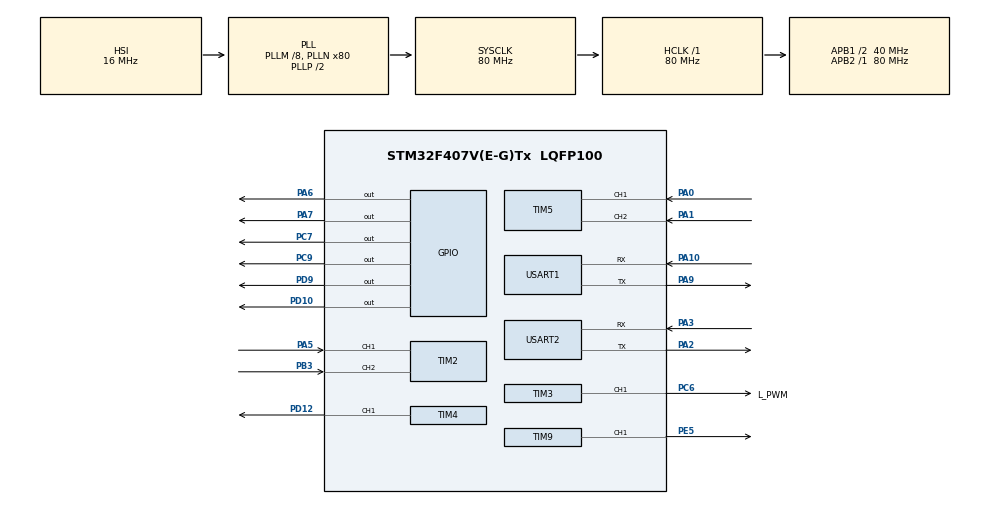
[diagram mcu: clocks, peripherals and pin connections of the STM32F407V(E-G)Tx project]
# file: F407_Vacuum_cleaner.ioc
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Mcu.Family=STM32F4
Mcu.Name=STM32F407V(E-G)Tx
Mcu.Package=LQFP100
NVIC.PriorityGroup=NVIC_PRIORITYGROUP_4
NVIC.TIM6_DAC_IRQn=true\:0\:0\:false\:false\:true\:true\:true\:true
NVIC.USART1_IRQn=true\:0\:0\:false\:false\:true\:true\:true\:true
NVIC.USART2_IRQn=true\:0\:0\:false\:false\:true\:true\:true\:true
PA0-WKUP.Signal=S_TIM5_CH1
PA1.Signal=S_TIM5_CH2
PA10.Mode=Asynchronous
PA10.Signal=USART1_RX
PA13.Mode=Serial_Wire
PA13.Signal=SYS_JTMS-SWDIO
PA14.Mode=Serial_Wire
PA14.Signal=SYS_JTCK-SWCLK
PA2.Mode=Asynchronous
PA2.Signal=USART2_TX
PA3.Mode=Asynchronous
PA3.Signal=USART2_RX
PA5.Signal=S_TIM2_CH1_ETR
PA6.PinState=GPIO_PIN_SET
PA6.Signal=GPIO_Output
PA7.PinState=GPIO_PIN_SET
PA7.Signal=GPIO_Output
PA9.Mode=Asynchronous
PA9.Signal=USART1_TX
PB3.Signal=S_TIM2_CH2
PC6.GPIO_Label=L_PWM
PC6.Signal=S_TIM3_CH1
PC7.Signal=GPIO_Output
PC9.Signal=GPIO_Output
PD10.Signal=GPIO_Output
PD12.Signal=S_TIM4_CH1
PD9.Signal=GPIO_Output
PE5.Signal=S_TIM9_CH1
PH0-OSC_IN.Mode=HSE-External-Oscillator
PH0-OSC_IN.Signal=RCC_OSC_IN
PH1-OSC_OUT.Mode=HSE-External-Oscillator
PH1-OSC_OUT.Signal=RCC_OSC_OUT
ProjectManager.HeapSize=0x200
ProjectManager.StackSize=0x400
ProjectManager.TargetToolchain=CMake
RCC.48MHZClocksFreq_Value=40000000
RCC.AHBFreq_Value=80000000
RCC.APB1CLKDivider=RCC_HCLK_DIV2
RCC.APB1Freq_Value=40000000
RCC.APB1TimFreq_Value=80000000
RCC.APB2Freq_Value=80000000
RCC.APB2TimFreq_Value=80000000
RCC.CortexFreq_Value=80000000
RCC.HCLKFreq_Value=80000000
RCC.HSE_VALUE=25000000
RCC.HSI_VALUE=16000000
RCC.LSE_VALUE=32768
RCC.PLLM=8
RCC.PLLN=80
RCC.SYSCLKFreq_VALUE=80000000
RCC.SYSCLKSource=RCC_SYSCLKSOURCE_PLLCLK
RCC.VCOOutputFreq_Value=160000000
SH.S_TIM2_CH1_ETR.0=TIM2_CH1,Encoder_Interface
SH.S_TIM2_CH2.0=TIM2_CH2,Encoder_Interface
SH.S_TIM3_CH1.0=TIM3_CH1,PWM Generation1 CH1
SH.S_TIM4_CH1.0=TIM4_CH1,PWM Generation1 CH1
SH.S_TIM5_CH1.0=TIM5_CH1,Encoder_Interface
SH.S_TIM5_CH2.0=TIM5_CH2,Encoder_Interface
SH.S_TIM9_CH1.0=TIM9_CH1,PWM Generation1 CH1
TIM2.EncoderMode=TIM_ENCODERMODE_TI12
TIM3.Channel-PWM\ Generation1\ CH1=TIM_CHANNEL_1
TIM3.Period=100-1
TIM3.Prescaler=800-1
TIM4.Channel-PWM\ Generation1\ CH1=TIM_CHANNEL_1
TIM4.Period=100-1
TIM4.Prescaler=800-1
TIM5.EncoderMode=TIM_ENCODERMODE_TI12
TIM6.Period=100-1
TIM6.Prescaler=800-1
TIM9.Channel-PWM\ Generation1\ CH1=TIM_CHANNEL_1
TIM9.Prescaler=800-1
USART1.VirtualMode=VM_ASYNC
USART2.VirtualMode=VM_ASYNC
VP_TIM6_VS_ClockSourceINT.Mode=Enable_Timer
board=custom

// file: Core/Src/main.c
/* USER CODE BEGIN Header */
/**
  ******************************************************************************
  * @file           : main.c
  * @brief          : Main program body
  ******************************************************************************
  * @attention
  *
  * Copyright (c) 2026 STMicroelectronics.
  * All rights reserved.
  *
  * This software is licensed under terms that can be found in the LICENSE file
  * in the root directory of this software component.
  * If no LICENSE file comes with this software, it is provided AS-IS.
  *
  ******************************************************************************
  */
/* USER CODE END Header */
#include "main.h"
#include "tim.h"
#include "usart.h"
#include "gpio.h"

/* USER CODE BEGIN Includes */
#include "moto.h"
#include "ESP8266.h"
#include "PID.h"
#include "headfile.h"
/* USER CODE END Includes */

/* USER CODE BEGIN PTD */
int _write(int file, char *ptr, int len)
{
  HAL_UART_Transmit(&huart2, (uint8_t*)ptr, len, HAL_MAX_DELAY);
  return len;
}
/* USER CODE END PTD */

void SystemClock_Config(void);

int main(void)
{

  /* MCU Configuration--------------------------------------------------------*/

  /* Reset of all peripherals, Initializes the Flash interface and the Systick. */
  HAL_Init();

  /* Configure the system clock */
  SystemClock_Config();

  /* Initialize all configured peripherals */
  MX_GPIO_Init();
  MX_TIM3_Init();
  MX_TIM4_Init();
  MX_USART1_UART_Init();
  MX_USART2_UART_Init();
  MX_TIM5_Init();
  MX_TIM2_Init();
  MX_TIM6_Init();
  MX_TIM9_Init();
  /* USER CODE BEGIN 2 */

  HAL_TIM_Encoder_Start(&htim2, TIM_CHANNEL_ALL);
  HAL_TIM_Encoder_Start(&htim5, TIM_CHANNEL_ALL);
  HAL_TIM_PWM_Start(&htim3, TIM_CHANNEL_1);
  HAL_TIM_PWM_Start(&htim4, TIM_CHANNEL_1);
  HAL_TIM_PWM_Start(&htim9, TIM_CHANNEL_1);
  #define RX_BUF_SIZE 256
  TIM3->CCR1 = 20;
  TIM4->CCR1 = 20;
  TIM9->CCR1 = 10;
  //HAL_GPIO_WritePin(GPIOC, GPIO_PIN_9, GPIO_PIN_SET);
  //HAL_GPIO_WritePin(GPIOC, GPIO_PIN_7, GPIO_PIN_RESET);
  ESP_8266_Init();
  //不要忘记开启UART中断
  //使用空闲中断接收不定长数据（一帧数据完整到达后自动触发回调）普通的接收中断在接收到一字节数据后会立刻触发中断。
  HAL_UARTEx_ReceiveToIdle_IT(&huart1, rx_buf, RX_BUF_SIZE);
  printf("System Ready. Waiting for commands...\r\n");
  HAL_GPIO_WritePin(GPIOA, GPIO_PIN_7, GPIO_PIN_RESET);
  pos_pid_left.target_distance = 1000;
  pos_pid_right.target_distance = 1000;

  PosPID_Init(&pos_pid_left,PKP,PKI,PKD);
  PosPID_Init(&pos_pid_right,PKP,PKI,PKD);

  PID_Init(&speed_pid_left,SKP, SKI, SKD, TARGET);
  PID_Init(&speed_pid_right,SKP, SKI, SKD, TARGET);
  // printf("target:%d\r\n",(int)speed_pid_left.target);
  // printf("target:%d\r\n",(int)speed_pid_right.target);
  // printf("target_pluse:%d\r\n",(int)pos_pid_left.target_pulse);
  // printf("target_pluse:%d\r\n",(int)pos_pid_right.target_pulse);

  /* USER CODE END 2 */

  /* Infinite loop */
  /* USER CODE BEGIN WHILE */
  while (1)
  {

    Signal_decoding();
    // int32_t counter = __HAL_TIM_GET_COUNTER(&htim5);
    // int32_t counter1 = __HAL_TIM_GET_COUNTER(&htim2);
    // printf("counter:%ld\r\n",counter);
    // printf("counter1:%d\r\n",counter1);
    // HAL_Delay(100);

    /* USER CODE END WHILE */

  }
}

void SystemClock_Config(void)
{
  RCC_OscInitTypeDef RCC_OscInitStruct = {0};
  RCC_ClkInitTypeDef RCC_ClkInitStruct = {0};

  /** Configure the main internal regulator output voltage
  */
  __HAL_RCC_PWR_CLK_ENABLE();
  __HAL_PWR_VOLTAGESCALING_CONFIG(PWR_REGULATOR_VOLTAGE_SCALE1);

  /** Initializes the RCC Oscillators according to the specified parameters
  * in the RCC_OscInitTypeDef structure.
  */
  RCC_OscInitStruct.OscillatorType = RCC_OSCILLATORTYPE_HSI;
  RCC_OscInitStruct.HSIState = RCC_HSI_ON;
  RCC_OscInitStruct.HSICalibrationValue = RCC_HSICALIBRATION_DEFAULT;
  RCC_OscInitStruct.PLL.PLLState = RCC_PLL_ON;
  RCC_OscInitStruct.PLL.PLLSource = RCC_PLLSOURCE_HSI;
  RCC_OscInitStruct.PLL.PLLM = 8;
  RCC_OscInitStruct.PLL.PLLN = 80;
  RCC_OscInitStruct.PLL.PLLP = RCC_PLLP_DIV2;
  RCC_OscInitStruct.PLL.PLLQ = 4;
  if (HAL_RCC_OscConfig(&RCC_OscInitStruct) != HAL_OK)
  {
    Error_Handler();
  }

  /** Initializes the CPU, AHB and APB buses clocks
  */
  RCC_ClkInitStruct.ClockType = RCC_CLOCKTYPE_HCLK|RCC_CLOCKTYPE_SYSCLK
                              |RCC_CLOCKTYPE_PCLK1|RCC_CLOCKTYPE_PCLK2;
  RCC_ClkInitStruct.SYSCLKSource = RCC_SYSCLKSOURCE_PLLCLK;
  RCC_ClkInitStruct.AHBCLKDivider = RCC_SYSCLK_DIV1;
  RCC_ClkInitStruct.APB1CLKDivider = RCC_HCLK_DIV2;
  RCC_ClkInitStruct.APB2CLKDivider = RCC_HCLK_DIV1;

  if (HAL_RCC_ClockConfig(&RCC_ClkInitStruct, FLASH_LATENCY_2) != HAL_OK)
  {
    Error_Handler();
  }
}

void Error_Handler(void)
{
  __disable_irq();
  while (1)
  {
  }
}
